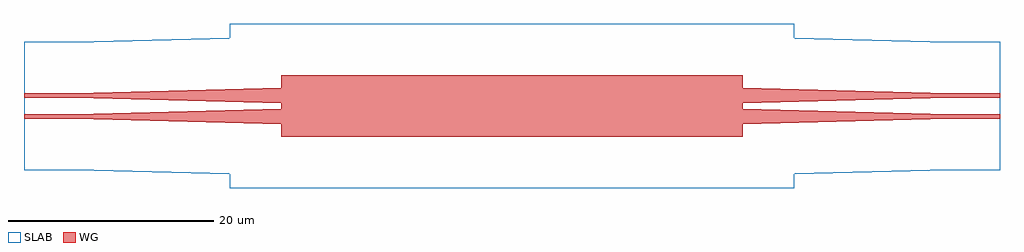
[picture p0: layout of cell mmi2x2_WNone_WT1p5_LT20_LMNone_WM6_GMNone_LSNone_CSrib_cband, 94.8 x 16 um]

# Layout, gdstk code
import gdstk
lib = gdstk.Library(unit=1e-6, precision=1e-09)
def R(c, l, rs):  # rectangles x0, y0, x1, y1
    for r in rs: c.add(gdstk.rectangle(r[:2], r[2:], *l))
def P(c, l, *ps):  # polygons
    for p in ps: c.add(gdstk.Polygon(p, *l))
WG = (3, 0)
SLAB = (5, 0)

mmi2x2_wnone_wt1p5_lt20_ = lib.new_cell('mmi2x2_WNone_WT1p5_LT20_LMNone_WM6_GMNone_LSNone_CSrib_cband')
R(mmi2x2_wnone_wt1p5_lt20_, WG, [(0,-3,44.8,3), (-25,-1.24,-20,-0.79), (64.8,-1.24,69.8,-0.79), (-25,0.79,-20,1.24), (64.8,0.79,69.8,1.24)])
P(mmi2x2_wnone_wt1p5_lt20_, WG, [(0,-1.765),(-20,-1.24),(-20,-0.79),(0,-0.265)],
  [(0,0.265),(-20,0.79),(-20,1.24),(0,1.765)],
  [(44.8,0.265),(44.8,1.765),(64.8,1.24),(64.8,0.79)],
  [(44.8,-1.765),(44.8,-0.265),(64.8,-0.79),(64.8,-1.24)])
P(mmi2x2_wnone_wt1p5_lt20_, SLAB, [(-5,-8),(-5,-6.635),(-20.048,-6.24),(-25,-6.24),(-25,6.24),(-20.048,6.24),(-5,6.635),(-5,8),(49.8,8),(49.8,6.635),(64.848,6.24),(69.8,6.24),(69.8,-6.24),(64.848,-6.24),(49.8,-6.635),(49.8,-8)])

lib.write_gds('mmi2x2_WNone_WT1p5_LT20_LMNone_WM6_GMNone_LSNone_CSrib_cband.gds')
